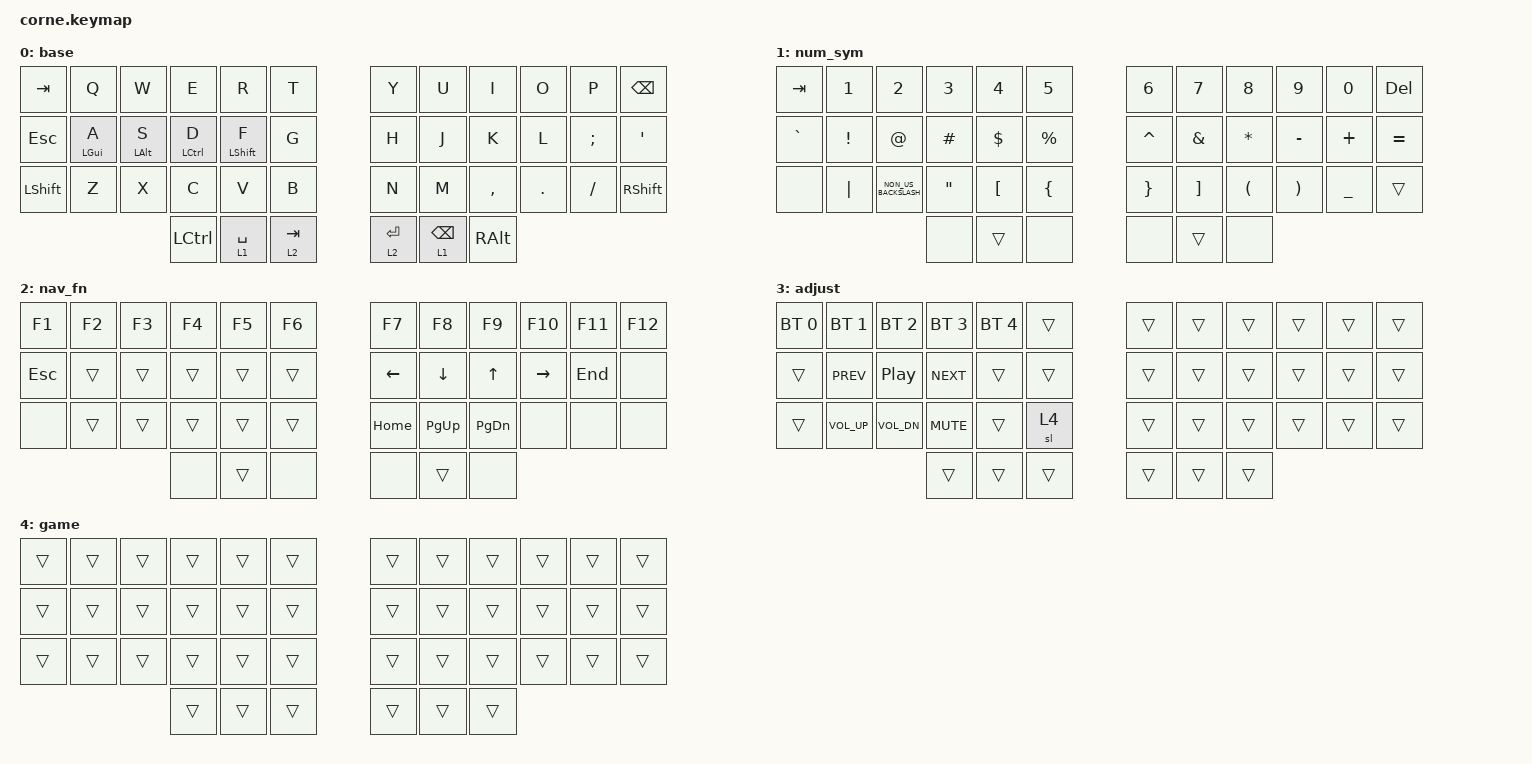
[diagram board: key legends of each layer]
/*
 * Copyright (c) 2020 The ZMK Contributors
 *
 * SPDX-License-Identifier: MIT
 */

#include <behaviors.dtsi>
#include <dt-bindings/zmk/bt.h>
#include <dt-bindings/zmk/keys.h>

/ {
    behaviors {
        hrm: homerow_mods {
            compatible = "zmk,behavior-hold-tap";
            label = "HRM";
            #binding-cells = <2>;
            flavor = "tap-preferred";
            tapping-term-ms = <220>;
            require-prior-idle-ms = <125>;
            quick-tap-ms = <175>;
            bindings = <&kp>, <&kp>;
        };
    };

    keymap {
        compatible = "zmk,keymap";

        base {
            // -----------------------------------------------------------------------------------------
            // |  TAB |  Q  |  W  |  E  |  R  |  T  |   |  Y  |  U   |  I  |  O  |  P  | BSPC |
            // | CTRL |  A  |  S  |  D  |  F  |  G  |   |  H  |  J   |  K  |  L  |  ;  |  '   |
            // | SHFT |  Z  |  X  |  C  |  V  |  B  |   |  N  |  M   |  ,  |  .  |  /  | ESC  |
            //                    | GUI | LWR | SPC |   | ENT | RSE  | ALT |

            bindings = <
&kp TAB     &kp Q        &kp W            &kp E         &kp R          &kp T        &kp Y      &kp U       &kp I      &kp O    &kp P     &kp BSPC
&kp ESCAPE  &hrm LGUI A  &hrm LEFT_ALT S  &hrm LCTRL D  &hrm LSHIFT F  &kp G        &kp H      &kp J       &kp K      &kp L    &kp SEMI  &kp SQT
&kp LSHFT   &kp Z        &kp X            &kp C         &kp V          &kp B        &kp N      &kp M       &kp COMMA  &kp DOT  &kp FSLH  &kp RSHFT
                                          &kp LCTRL     &lt 1 SPACE    &lt 2 TAB    &lt 2 RET  &lt 1 BSPC  &kp RALT
            >;
        };

        num_sym {
            // -----------------------------------------------------------------------------------------
            // |  TAB |  1  |  2  |  3  |  4  |  5  |   |  6  |  7  |  8  |  9  |  0  | BSPC |
            // | BTCLR| BT1 | BT2 | BT3 | BT4 | BT5 |   | LFT | DWN |  UP | RGT |     |      |
            // | SHFT |     |     |     |     |     |   |     |     |     |     |     |      |
            //                    | GUI |     | SPC |   | ENT |     | ALT |

            bindings = <
&kp TAB    &kp N1           &kp N2                &kp N3             &kp N4            &kp N5            &kp N6           &kp N7             &kp N8                &kp N9                 &kp N0          &kp DEL
&kp GRAVE  &kp EXCLAMATION  &kp AT_SIGN           &kp HASH           &kp DOLLAR        &kp PERCENT       &kp CARET        &kp AMPERSAND      &kp ASTERISK          &kp MINUS              &kp PLUS        &kp EQUAL
&none      &kp PIPE         &kp NON_US_BACKSLASH  &kp DOUBLE_QUOTES  &kp LEFT_BRACKET  &kp LEFT_BRACE    &kp RIGHT_BRACE  &kp RIGHT_BRACKET  &kp LEFT_PARENTHESIS  &kp RIGHT_PARENTHESIS  &kp UNDERSCORE  &trans
                                                  &none              &trans            &none             &none            &trans             &none
            >;
        };

        nav_fn {
            // -----------------------------------------------------------------------------------------
            // |  TAB |  !  |  @  |  #  |  $  |  %  |   |  ^  |  &  |  *  |  (  |  )  | BSPC |
            // | CTRL |     |     |     |     |     |   |  -  |  =  |  [  |  ]  |  \  |  `   |
            // | SHFT |     |     |     |     |     |   |  _  |  +  |  {  |  }  | "|" |  ~   |
            //                    | GUI |     | SPC |   | ENT |     | ALT |

            bindings = <
&kp F1      &kp F2  &kp F3  &kp F4  &kp F5  &kp F6    &kp F7    &kp F8       &kp F9         &kp F10    &kp F11  &kp F12
&kp ESCAPE  &trans  &trans  &trans  &trans  &trans    &kp LEFT  &kp DOWN     &kp UP_ARROW   &kp RIGHT  &kp END  &none
&none       &trans  &trans  &trans  &trans  &trans    &kp HOME  &kp PAGE_UP  &kp PAGE_DOWN  &none      &none    &none
                            &none   &trans  &none     &none     &trans       &none
            >;
        };

        adjust {
            bindings = <
&bt BT_SEL 0  &bt BT_SEL 1     &bt BT_SEL 2      &bt BT_SEL 3  &bt BT_SEL 4  &trans    &trans  &trans  &trans  &trans  &trans  &trans
&trans        &kp C_PREV       &kp C_PLAY_PAUSE  &kp C_NEXT    &trans        &trans    &trans  &trans  &trans  &trans  &trans  &trans
&trans        &kp C_VOLUME_UP  &kp C_VOL_DN      &kp K_MUTE    &trans        &sl 4     &trans  &trans  &trans  &trans  &trans  &trans
                                                 &trans        &trans        &trans    &trans  &trans  &trans
            >;
        };

        game {
            bindings = <
&trans  &trans  &trans  &trans  &trans  &trans    &trans  &trans  &trans  &trans  &trans  &trans
&trans  &trans  &trans  &trans  &trans  &trans    &trans  &trans  &trans  &trans  &trans  &trans
&trans  &trans  &trans  &trans  &trans  &trans    &trans  &trans  &trans  &trans  &trans  &trans
                        &trans  &trans  &trans    &trans  &trans  &trans
            >;
        };
    };

    conditional_layers {
        compatible = "zmk,conditional-layers";

        sw_adj {
            if-layers = <1 2>;
            then-layer = <3>;
        };
    };
};
